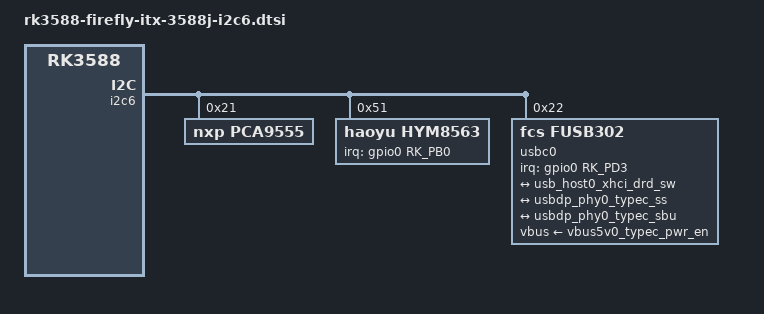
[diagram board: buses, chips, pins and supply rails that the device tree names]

#include <dt-bindings/usb/pd.h>

&i2c6 {
    status = "okay";
    pinctrl-names = "default";
    pinctrl-0 = <&i2c6m0_xfer>;

    pca9555: gpio@21 {
        compatible = "nxp,pca9555";
        reg = <0x21>;
        gpio-controller;
        #gpio-cells = <2>;
        //gpio-group-num is not used in the source code anymore,
        //it appears we somehow need to pass this as GPIO_BASE.
        //TODO
        // But no idea how...
        gpio-group-num = <200>;
        status = "okay";
    };

    hym8563: rtc@51 {
        compatible = "haoyu,hym8563";
        reg = <0x51>;
        #clock-cells = <0>;
        clock-output-names = "hym8563";
        pinctrl-names = "default";
        pinctrl-0 = <&hym8563_int>;
        interrupt-parent = <&gpio0>;
        interrupts = <RK_PB0 IRQ_TYPE_LEVEL_LOW>;
        wakeup-source;
        status = "okay";
    };

    usbc0: usb-typec@22 {
        compatible = "fcs,fusb302";
        reg = <0x22>;
        interrupt-parent = <&gpio0>;
        interrupts = <RK_PD3 IRQ_TYPE_LEVEL_LOW>;
        pinctrl-names = "default";
        pinctrl-0 = <&usbc0_int>;
        vbus-supply = <&vbus5v0_typec_pwr_en>;
        status = "okay";

        usb_con: connector {
            compatible = "usb-c-connector";
            label = "USB-C";
            data-role = "dual";
            power-role = "dual";
            try-power-role = "sink";
            op-sink-microwatt = <1000000>;
            sink-pdos =
                    <PDO_FIXED(5000, 1000, PDO_FIXED_USB_COMM)>;
            source-pdos =
                    <PDO_FIXED(5000, 3000, PDO_FIXED_USB_COMM)>;

            altmodes {
                displayport {
                    svid = /bits/ 16 <0xff01>;
                    vdo = <0xffffffff>;
                };
            };

            ports {
                #address-cells = <1>;
                #size-cells = <0>;

                port@0 {
                    reg = <0>;
					usbc0_hs: endpoint {
						remote-endpoint = <&usb_host0_xhci_drd_sw>;
					};
				};

				port@1 {
					reg = <1>;
                    usbc0_ss: endpoint {
                        remote-endpoint = <&usbdp_phy0_typec_ss>;
                    };
                };

				port@2 {
					reg = <2>;
                    usbc0_sbu: endpoint {
                        remote-endpoint = <&usbdp_phy0_typec_sbu>;
                    };
                };
            };
        };
    };

};
